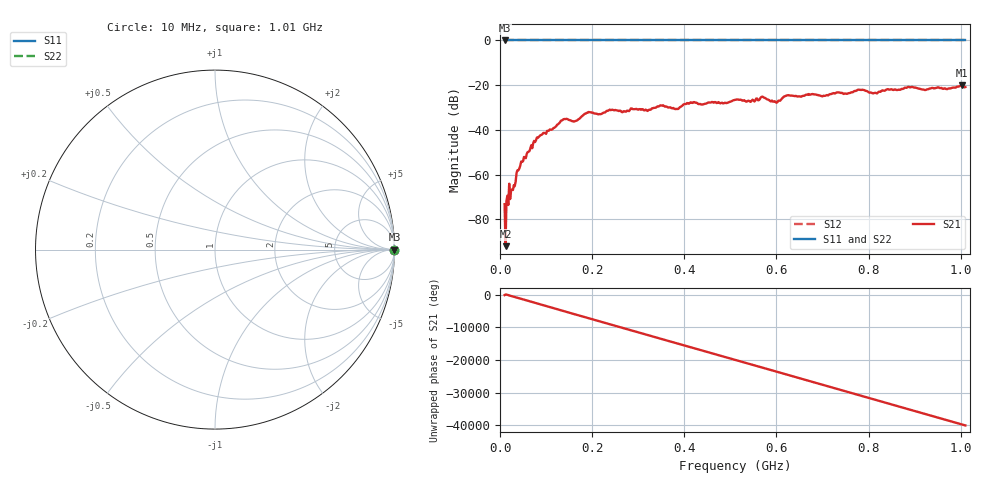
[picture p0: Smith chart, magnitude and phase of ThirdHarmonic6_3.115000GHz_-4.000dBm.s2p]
! 8/17/2025 9:13:38 AM
! C:\ANRITSUVNA\TEMP\TEMP.S2P
! CHANNEL.1
! TR.MEASUREMENT
! RAW.DATA
! RF.CORRECTION.OFF
! AVERAGING.OFF
! IF.BANDWIDTH: 5KHZ
! SWEEPTYPE:  FREQ.SWEEP(Linear)
! Reference Plane Port Info
! PORT:  PORT1  PORT2
! DISTANCE:  0  m  0  m
! TIME:  0  s  0  s
! PHASE.OFFSET:  0  deg.  0  deg.
! LOSS:  0  dB  0  dB
! REF.LOSS:  0  dB  0  dB
! REF.FREQ:  0  Hz  0  Hz
! Power Info
! POWER:  -20  dBm  -20  dBm
! EFF.POWER:  -20  dBm  -20  dBm
! SOURCE.ATTEN:  0  dB  0  dB
! TEST.ATTEN:  0  dB  0  dB
# GHZ S RI R 50.0
! FREQ.GHZ  S11RE  S11IM  S21RE  S21IM  S12RE  S12IM  S22RE  S22IM
!; PortSelection: Port_12
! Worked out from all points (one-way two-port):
!   501 points, 10 MHz to 1.01 GHz, reference 50 ohm
!   highest |S21| = -20.13 dB at 1.002 GHz (marker M1); lowest = -92.0 dB at 12 MHz (marker M2)
!   lowest |S11| = 0.0 dB at 10 MHz (marker M3)
!   |S11| at or under -10 dB: nowhere
!   |S22| runs from 0.0 to 0.0 dB; largest |S21 - S12| = 1.1
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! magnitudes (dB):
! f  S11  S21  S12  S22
! 10 MHz  0.0  -73.2  0.0  0.0
! 12 MHz  0.0  -92.0  0.0  0.0
! 30 MHz  0.0  -64.8  0.0  0.0
! 42 MHz  0.0  -57.3  0.0  0.0
! 78 MHz  0.0  -44.8  0.0  0.0
! 136 MHz  0.0  -35.6  0.0  0.0
! 162 MHz  0.0  -36.2  0.0  0.0
! 178 MHz  0.0  -33.9  0.0  0.0
! 192 MHz  0.0  -32.0  0.0  0.0
! 322 MHz  0.0  -31.3  0.0  0.0
! 344 MHz  0.0  -29.6  0.0  0.0
! 384 MHz  0.0  -30.6  0.0  0.0
! 418 MHz  0.0  -28.0  0.0  0.0
! 510 MHz  0.0  -26.6  0.0  0.0
! 570 MHz  0.0  -25.1  0.0  0.0
! 598 MHz  0.0  -27.5  0.0  0.0
! 622 MHz  0.0  -24.6  0.0  0.0
! 678 MHz  0.0  -24.0  0.0  0.0
! 814 MHz  0.0  -23.4  0.0  0.0
! 844 MHz  0.0  -22.0  0.0  0.0
! 1.002 GHz  0.0  -20.1  0.0  0.0
! 1.01 GHz  0.0  -20.8  0.0  0.0
